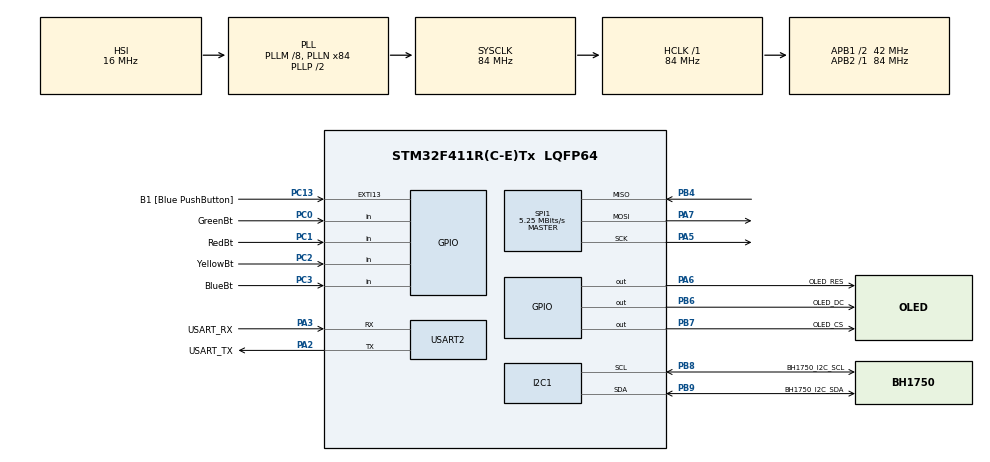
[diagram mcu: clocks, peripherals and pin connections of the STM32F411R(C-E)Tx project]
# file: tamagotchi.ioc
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Mcu.Family=STM32F4
Mcu.Name=STM32F411R(C-E)Tx
Mcu.Package=LQFP64
NVIC.I2C1_ER_IRQn=true\:0\:0\:false\:false\:true\:true\:true\:true
NVIC.I2C1_EV_IRQn=true\:0\:0\:false\:false\:true\:true\:true\:true
NVIC.PriorityGroup=NVIC_PRIORITYGROUP_0
NVIC.SPI1_IRQn=true\:0\:0\:false\:false\:true\:true\:true\:true
NVIC.USART2_IRQn=true\:0\:0\:false\:false\:true\:true\:true\:true
PA13.GPIO_Label=TMS
PA13.Mode=Serial_Wire
PA13.Signal=SYS_JTMS-SWDIO
PA14.GPIO_Label=TCK
PA14.Mode=Serial_Wire
PA14.Signal=SYS_JTCK-SWCLK
PA2.GPIO_Label=USART_TX
PA2.Mode=Asynchronous
PA2.Signal=USART2_TX
PA3.GPIO_Label=USART_RX
PA3.Mode=Asynchronous
PA3.Signal=USART2_RX
PA5.Mode=Full_Duplex_Master
PA5.Signal=SPI1_SCK
PA6.GPIO_Label=OLED_RES
PA6.GPIO_Speed=GPIO_SPEED_FREQ_HIGH
PA6.PinState=GPIO_PIN_SET
PA6.Signal=GPIO_Output
PA7.GPIO_Speed=GPIO_SPEED_FREQ_HIGH
PA7.Mode=Full_Duplex_Master
PA7.Signal=SPI1_MOSI
PB4.Mode=Full_Duplex_Master
PB4.Signal=SPI1_MISO
PB6.GPIO_Label=OLED_DC
PB6.GPIO_PuPd=GPIO_PULLUP
PB6.GPIO_Speed=GPIO_SPEED_FREQ_HIGH
PB6.Signal=GPIO_Output
PB7.GPIO_Label=OLED_CS
PB7.GPIO_Speed=GPIO_SPEED_FREQ_HIGH
PB7.PinState=GPIO_PIN_SET
PB7.Signal=GPIO_Output
PB8.GPIO_Label=BH1750_I2C_SCL
PB8.GPIO_Pu=GPIO_PULLUP
PB8.GPIO_Speed=GPIO_SPEED_FREQ_HIGH
PB8.Mode=I2C
PB8.Signal=I2C1_SCL
PB9.GPIO_Label=BH1750_I2C_SDA
PB9.GPIO_Pu=GPIO_PULLUP
PB9.GPIO_Speed=GPIO_SPEED_FREQ_HIGH
PB9.Mode=I2C
PB9.Signal=I2C1_SDA
PC0.GPIO_Label=GreenBt
PC0.GPIO_PuPd=GPIO_PULLUP
PC0.Signal=GPIO_Input
PC1.GPIO_Label=RedBt
PC1.GPIO_PuPd=GPIO_PULLUP
PC1.Signal=GPIO_Input
PC13-ANTI_TAMP.GPIO_Label=B1 [Blue PushButton]
PC13-ANTI_TAMP.GPIO_ModeDefaultEXTI=GPIO_MODE_IT_FALLING
PC13-ANTI_TAMP.Signal=GPXTI13
PC14-OSC32_IN.Mode=LSE-External-Oscillator
PC14-OSC32_IN.Signal=RCC_OSC32_IN
PC15-OSC32_OUT.Mode=LSE-External-Oscillator
PC15-OSC32_OUT.Signal=RCC_OSC32_OUT
PC2.GPIO_Label=YellowBt
PC2.GPIO_PuPd=GPIO_PULLUP
PC2.Signal=GPIO_Input
PC3.GPIO_Label=BlueBt
PC3.GPIO_PuPd=GPIO_PULLUP
PC3.Signal=GPIO_Input
PH0\ -\ OSC_IN.Mode=HSE-External-Clock-Source
PH0\ -\ OSC_IN.Signal=RCC_OSC_IN
PH1\ -\ OSC_OUT.Mode=HSE-External-Clock-Source
PH1\ -\ OSC_OUT.Signal=RCC_OSC_OUT
ProjectManager.HeapSize=0x200
ProjectManager.StackSize=0x400
ProjectManager.TargetToolchain=STM32CubeIDE
RCC.48MHZClocksFreq_Value=42000000
RCC.AHBFreq_Value=84000000
RCC.APB1CLKDivider=RCC_HCLK_DIV2
RCC.APB1Freq_Value=42000000
RCC.APB1TimFreq_Value=84000000
RCC.APB2Freq_Value=84000000
RCC.APB2TimFreq_Value=84000000
RCC.CortexFreq_Value=84000000
RCC.FLatency-AdvancedSettings=FLASH_LATENCY_2
RCC.HCLKFreq_Value=84000000
RCC.HSE_VALUE=8000000
RCC.HSI_VALUE=16000000
RCC.PLLM=8
RCC.PLLN=84
RCC.SYSCLKFreq_VALUE=84000000
RCC.SYSCLKSource=RCC_SYSCLKSOURCE_PLLCLK
RCC.VCOOutputFreq_Value=168000000
SPI1.BaudRatePrescaler=SPI_BAUDRATEPRESCALER_16
SPI1.CalculateBaudRate=5.25 MBits/s
SPI1.Direction=SPI_DIRECTION_2LINES
SPI1.Mode=SPI_MODE_MASTER
SPI1.VirtualType=VM_MASTER
USART2.VirtualMode=VM_ASYNC
board=NUCLEO-F411RE

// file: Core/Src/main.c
/* USER CODE BEGIN Header */
/**
  ******************************************************************************
  * @file           : main.c
  * @brief          : Main program body
  ******************************************************************************
  * @attention
  *
  * Copyright (c) 2024 STMicroelectronics.
  * All rights reserved.
  *
  * This software is licensed under terms that can be found in the LICENSE file
  * in the root directory of this software component.
  * If no LICENSE file comes with this software, it is provided AS-IS.
  *
  ******************************************************************************
  */
/* USER CODE END Header */
#include "main.h"

/* USER CODE BEGIN Includes */
#include <stdint.h>
#include <stddef.h>
#include <string.h>
#include <stdlib.h>
#include <stdbool.h>
#include <stdio.h>
#include <stdarg.h>
#include <math.h>
#include <ctype.h>

#include "images.h"
#include "bh1750.h"
#include "ssd1309.h"
#include "uart.h"
#include "game_logic_and_animation.h"
/* USER CODE END Includes */

/* USER CODE BEGIN PD */
#define STM "STM"
#define START_ID_SENDER 0
#define START_ID_RECIPIENT 3
#define START_ID_LENGTH_COMMEND 6
#define LENGTH_OF_FRAME_WITHOUT_LENGHT_OF_DATA 13
#define START_ID_DATA 9
#define CMD_MAX_LENGTH 85
#define MAX_FRAME_SIZE 268
#define POLYNOMIAL 0x8005 // Polynomial for CRC-16/ARC
#define INITIAL_CRC 0x0000 // Initial value
#define FINAL_XOR 0x0000 // Final XOR Value
/* USER CODE END PD */

I2C_HandleTypeDef hi2c1;

SPI_HandleTypeDef hspi1;

UART_HandleTypeDef huart2;

/* USER CODE BEGIN PV */
typedef struct {
    char sender_frame[4];
    char recipient_frame[4];
    char length_of_command_frame[3];
    char data_frame[257];
    char crc[5];
} Frame_Data;

typedef enum {
    Waiting, // Waiting for frame
    Start, // Start of frame
} FrameDetection;

// CRC table for CRC-16/ARC
static const uint16_t crc_table[256] = {0x0000, 0xC0C1, 0xC181, 0x0140,   0xC301, 0x03C0, 0x0280, 0xC241,
        0xC601, 0x06C0, 0x0780, 0xC741,   0x0500, 0xC5C1, 0xC481, 0x0440,
        0xCC01, 0x0CC0, 0x0D80, 0xCD41,   0x0F00, 0xCFC1, 0xCE81, 0x0E40,
        0x0A00, 0xCAC1, 0xCB81, 0x0B40,   0xC901, 0x09C0, 0x0880, 0xC841,
        0xD801, 0x18C0, 0x1980, 0xD941,   0x1B00, 0xDBC1, 0xDA81, 0x1A40,
        0x1E00, 0xDEC1, 0xDF81, 0x1F40,   0xDD01, 0x1DC0, 0x1C80, 0xDC41,
        0x1400, 0xD4C1, 0xD581, 0x1540,   0xD701, 0x17C0, 0x1680, 0xD641,
        0xD201, 0x12C0, 0x1380, 0xD341,   0x1100, 0xD1C1, 0xD081, 0x1040,
        0xF001, 0x30C0, 0x3180, 0xF141,   0x3300, 0xF3C1, 0xF281, 0x3240,
        0x3600, 0xF6C1, 0xF781, 0x3740,   0xF501, 0x35C0, 0x3480, 0xF441,
        0x3C00, 0xFCC1, 0xFD81, 0x3D40,   0xFF01, 0x3FC0, 0x3E80, 0xFE41,
        0xFA01, 0x3AC0, 0x3B80, 0xFB41,   0x3900, 0xF9C1, 0xF881, 0x3840,
        0x2800, 0xE8C1, 0xE981, 0x2940,   0xEB01, 0x2BC0, 0x2A80, 0xEA41,
        0xEE01, 0x2EC0, 0x2F80, 0xEF41,   0x2D00, 0xEDC1, 0xEC81, 0x2C40,
        0xE401, 0x24C0, 0x2580, 0xE541,   0x2700, 0xE7C1, 0xE681, 0x2640,
        0x2200, 0xE2C1, 0xE381, 0x2340,   0xE101, 0x21C0, 0x2080, 0xE041,
        0xA001, 0x60C0, 0x6180, 0xA141,   0x6300, 0xA3C1, 0xA281, 0x6240,
        0x6600, 0xA6C1, 0xA781, 0x6740,   0xA501, 0x65C0, 0x6480, 0xA441,
        0x6C00, 0xACC1, 0xAD81, 0x6D40,   0xAF01, 0x6FC0, 0x6E80, 0xAE41,
        0xAA01, 0x6AC0, 0x6B80, 0xAB41,   0x6900, 0xA9C1, 0xA881, 0x6840,
        0x7800, 0xB8C1, 0xB981, 0x7940,   0xBB01, 0x7BC0, 0x7A80, 0xBA41,
        0xBE01, 0x7EC0, 0x7F80, 0xBF41,   0x7D00, 0xBDC1, 0xBC81, 0x7C40,
        0xB401, 0x74C0, 0x7580, 0xB541,   0x7700, 0xB7C1, 0xB681, 0x7640,
        0x7200, 0xB2C1, 0xB381, 0x7340,   0xB101, 0x71C0, 0x7080, 0xB041,
        0x5000, 0x90C1, 0x9181, 0x5140,   0x9301, 0x53C0, 0x5280, 0x9241,
        0x9601, 0x56C0, 0x5780, 0x9741,   0x5500, 0x95C1, 0x9481, 0x5440,
        0x9C01, 0x5CC0, 0x5D80, 0x9D41,   0x5F00, 0x9FC1, 0x9E81, 0x5E40,
        0x5A00, 0x9AC1, 0x9B81, 0x5B40,   0x9901, 0x59C0, 0x5880, 0x9841,
        0x8801, 0x48C0, 0x4980, 0x8941,   0x4B00, 0x8BC1, 0x8A81, 0x4A40,
        0x4E00, 0x8EC1, 0x8F81, 0x4F40,   0x8D01, 0x4DC0, 0x4C80, 0x8C41,
        0x4400, 0x84C1, 0x8581, 0x4540,   0x8701, 0x47C0, 0x4680, 0x8641,
        0x8201, 0x42C0, 0x4380, 0x8341,   0x4100, 0x81C1, 0x8081, 0x4040
};
Frame_Data frame_data = {
    .sender_frame = "",
    .recipient_frame = "",
    .length_of_command_frame = "",
    .data_frame = "",
    .crc = ""
};

FrameDetection detection = Waiting;
uint16_t frame_length = 0;
uint16_t frame_id = 0;
/* USER CODE END PV */

void SystemClock_Config(void);
static void MX_GPIO_Init(void);
static void MX_USART2_UART_Init(void);
static void MX_I2C1_Init(void);
static void MX_SPI1_Init(void);
/* USER CODE BEGIN PFP */
uint8_t USART_kbhit();
int16_t USART_getchar();
uint8_t USART_getline(char *buf);
void USART_fsend(char* format,...);
void HAL_UART_TxCpltCallback(UART_HandleTypeDef *huart);
void HAL_UART_RxCpltCallback(UART_HandleTypeDef *huart);
uint8_t USART_receive_frame(uint8_t *data, uint16_t *length);
void USART_send_frame(uint8_t *data, uint16_t length);
/* USER CODE END PFP */

/* USER CODE BEGIN 0 */
// Function for handling UART transmission completion
void HAL_UART_TxCpltCallback(UART_HandleTypeDef *huart) {
    if (huart == &huart2) {
        if (USART_TX_Empty != USART_TX_Busy) {
            uint8_t tmp = USART_TxBuf[USART_TX_Busy];
            USART_TX_Busy++;
            if (USART_TX_Busy >= USART_TXBUF_LEN) USART_TX_Busy = 0;
            HAL_UART_Transmit_IT(&huart2, &tmp, 1);
        }
    }
}
// Function for handling UART data reception
void HAL_UART_RxCpltCallback(UART_HandleTypeDef *huart) {
    if (huart == &huart2) {
        USART_RX_Empty++;
        if (USART_RX_Empty >= USART_RXBUF_LEN) USART_RX_Empty = 0;
        HAL_UART_Receive_IT(&huart2, &USART_RxBuf[USART_RX_Empty], 1);
    }
}

// Function for calculating CRC-16
uint16_t crc16(const uint8_t *data, size_t length) {
    uint16_t crc = INITIAL_CRC;

    for (size_t i = 0; i < length; i++) {
        uint8_t byte = data[i] ^ (crc & 0xFF);
        crc = (crc >> 8) ^ crc_table[byte];
    }

    return crc ^ FINAL_XOR;
}
// Function for verifying CRC
bool verify_crc(const uint16_t *data, size_t length, const char *crc_ascii) {
    // Check if input pointers are not NULL
    if (data == NULL || crc_ascii == NULL) {
        return false;
    }

    // Calculate CRC for given data using crc16 function
    uint16_t calculated_crc = crc16(data, length);

    // Convert ASCII hex to uint16_t
    uint16_t provided_crc = 0;
    for(int i = 0; i < 4; i++) {
        uint8_t val;
        char c = crc_ascii[i];

        // Convert single hex character
        if(c >= '0' && c <= '9') {
            val = c - '0';
        }
        else if(c >= 'A' && c <= 'F') {
            val = c - 'A' + 10;
        }
        else {
            return false;  // Invalid character
        }

        // Shift and add new value
        provided_crc = (provided_crc << 4) | val;
    }

    return (calculated_crc == provided_crc);
}
// Function for reading frame
void FrameRd() {
    int16_t sign;

    if (USART_RX_Empty == USART_RX_Busy) { // Check if data is available
        return;
    }

    sign = USART_RxBuf[USART_RX_Busy];
    USART_RX_Busy++;

    if (USART_RX_Busy >= USART_RXBUF_LEN) {
        USART_RX_Busy = 0;
    }

    // Check for starting character { and verify if in data field
    // the character is not escaped
    if (sign == '{' && !(frame_id > 9 && frame[frame_id - 1] == '\\')) {
        detection = Start;
        frame_id = 0; // Reset frame length
        return;
    }

    if (detection == Start) {
        // Check for ending character } and verify if in data field
        // the character is not escaped
        if (sign == '}' && !(frame_id > 9 && frame[frame_id - 1] == '\\')) {
            frame_length = frame_id;
            frame_id = 0;
            decoding();
            detection = Waiting; // Return to waiting for new frame
            return;
        }

        frame[frame_id] = sign; // Add current character to frame
        frame_id++;

        // Check maximum frame length
        if (frame_id > (MAX_FRAME_SIZE)) {
            frame_id = 0;
            detection = Waiting; // Reset on invalid frame
            return;
        }
    }
}

// Function for decoding frame
void decoding() {
    // 13 is the minimum frame size without {} characters
    if (frame_length < 13) {
        // Frame is ignored, doesn't meet requirements
        return;
    }

    // Copy sender
    for (int i = 0; i < 3; i++) {
        frame_data.sender_frame[i] = frame[START_ID_SENDER + i];
    }

    // Copy and compare recipient
    bool recipient_match = true;
    for (int i = 0; i < 3; i++) {
        frame_data.recipient_frame[i] = frame[START_ID_RECIPIENT + i];
        if (frame_data.recipient_frame[i] != STM[i]) {
                    recipient_match = false;
                    break;
        }
    }
    if (!recipient_match) {
        return;
    }

    // Copy length and check if it's a number in base 10
    for (int symbol_id = 0; symbol_id < 3; symbol_id++) {
        frame_data.length_of_command_frame[symbol_id] = frame[START_ID_LENGTH_COMMEND + symbol_id];
        if (!(frame_data.length_of_command_frame[symbol_id] >= '0' &&
              frame_data.length_of_command_frame[symbol_id] <= '9')) {
            USART_send_response(STM, frame_data.sender_frame, "WRLENDATA");
            return;
        }
    }

    int cmdLength = 0;
    // Convert to int
    for (int i = 0; i < 3; i++) {
        if (!(frame_data.length_of_command_frame[i] - '0' >= 0 && frame_data.length_of_command_frame[i] - '0' <= 9 )){
            USART_send_response(STM, frame_data.sender_frame, "WRCMD");
            return;
        }
        cmdLength = cmdLength * 10 + (frame_data.length_of_command_frame[i] - '0');
    }

    if (cmdLength >= 256 && cmdLength <=0){
        USART_send_response(STM, frame_data.sender_frame, "WRCMD");
        return;
    }

    // Copy data
    for (int i = 0; i < cmdLength; i++) {
        frame_data.data_frame[i] = frame[9 + i];
    }

    // Copy CRC
    for (int i = 0; i < 4; i++) {
        frame_data.crc[i] = frame[9 + cmdLength + i];
    }

    // Check if CRC is a hexadecimal number
    for (int symbol_id = 0; symbol_id < 4; symbol_id++) {
        if (!(frame_data.crc[symbol_id] >= '0' && frame_data.crc[symbol_id] <= '9') &&
            !(frame_data.crc[symbol_id] >= 'A' && frame_data.crc[symbol_id] <= 'F')) {
            USART_send_response(STM, frame_data.sender_frame, "WRCRC");
            return;
        }
    }

    if (verify_crc((uint16_t *)frame, frame_length-4, frame_data.crc)) {
        parse_and_execute_command(frame_data.data_frame);
    } else {
        USART_send_response(STM, frame_data.sender_frame, "WRCRC");
    }
}

// Function for parsing and executing commands
void parse_and_execute_command(const char* data, int data_length) {
    char header[CMD_MAX_LENGTH] = {0};
    char command[CMD_MAX_LENGTH] = {0};
    char value[CMD_MAX_LENGTH] = {0};

    int header_index = 0, command_index = 0, value_index = 0;
    int i = 0;

    // Parse header (until '_' character)
    while (i < data_length && data[i] != '_') {
        header[header_index++] = data[i++];
    }
    i++; // Skip '_' character

    // Parse command (until '[' character)
    while (i < data_length && data[i] != '[') {
        command[command_index++] = data[i++];
    }
    i++; // Skip '[' character

    // Parse value (until ']' character)
    while (i < data_length && data[i] != ']') {
        value[value_index++] = data[i++];
    }

    // Check if all parts were parsed correctly
    if (header_index == 0 || command_index == 0 || value_index == 0) {
        USART_send_response(STM, frame_data.sender_frame, "WRCMD");
        return;
    }

    // Execute command
    Commends(header, header_index, command, command_index, value, value_index);
}
// Function to check if value is a valid number
bool isNumber(const char* value, int length) {
    for (int i = 0; i < length; i++) {
        if (!isdigit((unsigned char)value[i])) {
            return false;  // If character is not a digit, return false
        }
    }
    return true;  // All characters are digits
}
// Function to convert string to integer if valid, otherwise return -1
int handleNumber(const char* value, int length) {
    if (isNumber(value, length)) {
        int number = 0;
        for (int i = 0; i < length; i++) {
            number = number * 10 + (value[i] - '0');  // Manual conversion to number
        }
        return number;
    }
    return -1;  // If value is not a number, return -1
}

// Function to check if value is within specified range (inclusive)
bool isInRange(int value, int min, int max) {
    return value >= min && value <= max;  // Returns true if value is between min and max
}
// Function for comparing character arrays
int custom_strncmp(const char* str1, const char* str2, int length1, int length2) {
    if (length1 != length2){
        return -1;
    }
    // Compare characters
    for (int i = 0; i < length1; i++) {
        if (str1[i] != str2[i]) {
            return (unsigned char)str1[i] - (unsigned char)str2[i];  // Return difference between characters
        }
    }

    return 0; // Arrays are identical
}
// Function to check if given value is valid depending on head and instruction
bool value_check(const char* head, int head_length, const char* instruction, int instruction_length, const char* value, int value_length) {
    int value_to_int = handleNumber(value, value_length);  // Convert value to number

    // Compare head with "FOOD", "ENERGY", "FUN"
    if (custom_strncmp(head, "FOOD", head_length, 4) == 0 ||
        custom_strncmp(head, "ENERGY", head_length, 6) == 0 ||
        custom_strncmp(head, "FUN", head_length, 3) == 0) {

        // Check for ADD or SUBTRACT instruction
        if ((custom_strncmp(instruction, "ADD", instruction_length, 3) == 0 ||
             custom_strncmp(instruction, "SUBTRACT", instruction_length, 8) == 0) &&
            isInRange(value_to_int, 1, 5)) {
            return true;
        }
        // Check for SET instruction
        if (custom_strncmp(instruction, "SET", instruction_length, 3) == 0 &&
            isInRange(value_to_int, 0, 5)) {
            return true;
        }
        // Check for CLEAR instruction
        if (custom_strncmp(instruction, "CLEAR", instruction_length, 5) == 0 &&
            value[0] == 'X') {
            return true;
        }
    }
    // Compare head with "MENU"
    else if (custom_strncmp(head, "MENU", head_length, 4) == 0) {
        // Check for CHANGE instruction
        if (custom_strncmp(instruction, "CHANGE", instruction_length, 6) == 0 &&
            isInRange(value_to_int, 1, 3)) {
            return true;
        }
    }
    // Compare head with "WAKEUP"
    else if (custom_strncmp(head, "WAKEUP", head_length, 6) == 0) {
        // Check value range
        if (isInRange(value_to_int, 1, 65535)) {
            return true;
        }
    }

    return false;  // If no condition is met, return false
}

// Main function for processing commands and executing appropriate actions
void Commends(const char* head, int head_length, const char* instruction, int instruction_length, const char* value, int value_length) {
    uint16_t* attribute = NULL;

    // Handle FOOD, ENERGY, FUN
    if (custom_strncmp(head, "FOOD", head_length, 4) == 0 ||
        custom_strncmp(head, "ENERGY", head_length, 6) == 0 ||
        custom_strncmp(head, "FUN", head_length, 3) == 0) {

        if (custom_strncmp(head, "FOOD", head_length, 4) == 0) {
            attribute = &g_atribute.food;
        } else if (custom_strncmp(head, "ENERGY", head_length, 6) == 0) {
            attribute = &g_atribute.energy;
        } else if (custom_strncmp(head, "FUN", head_length, 3) == 0) {
            attribute = &g_atribute.fun;
        }

        if (!attribute) {
            USART_send_response(STM, frame_data.sender_frame, "WRCMD");
            return;
        }

        // Check if menu is in game state (action blocked)
        if (g_atribute.menu == 3) {
            USART_send_response(STM, frame_data.sender_frame, "WRWAITGAME");
            return;
        }

        // Handle ADD instruction
        if (custom_strncmp(instruction, "ADD", instruction_length, 3) == 0) {
            if (g_atribute.minigame) {
                USART_send_response(STM, frame_data.sender_frame, "WRWAITGAME");
                return;
            }
            if (value_check(head, head_length, instruction, instruction_length, value, value_length)) {
                int new_value = *attribute + handleNumber(value, value_length);
                *attribute = (new_value > 5) ? 5 : new_value;  // Limit value to 5
                USART_send_response(STM, frame_data.sender_frame, "ACCEPTADDAT");
            } else {
                USART_send_response(STM, frame_data.sender_frame, "WRVALUE");
            }
        }
        // Handle SUBTRACT instruction
        else if (custom_strncmp(instruction, "SUBTRACT", instruction_length, 8) == 0) {
            if (g_atribute.minigame) {
                USART_send_response(STM, frame_data.sender_frame, "WRWAITGAME");
                return;
            }
            if (value_check(head, head_length, instruction, instruction_length, value, value_length)) {
                int new_value = *attribute - handleNumber(value, value_length);
                *attribute = (new_value < 0) ? 0 : new_value;  // Limit value to 0
                USART_send_response(STM, frame_data.sender_frame, "ACCEPTSUBAT");
            } else {
                USART_send_response(STM, frame_data.sender_frame, "WRVALUE");
            }
        }
        // Handle SET instruction
        else if (custom_strncmp(instruction, "SET", instruction_length, 3) == 0) {
            if (g_atribute.minigame) {
                USART_send_response(STM, frame_data.sender_frame, "WRWAITGAME");
                return;
            }
            if (value_check(head, head_length, instruction, instruction_length, value, value_length)) {
                *attribute = handleNumber(value, value_length);
                USART_send_response(STM, frame_data.sender_frame, "ACCEPTSET");
            } else {
                USART_send_response(STM, frame_data.sender_frame, "WRVALUE");
            }
        }
        // Handle CLEAR instruction
        else if (custom_strncmp(instruction, "CLEAR", instruction_length, 5) == 0) {
            if (g_atribute.minigame) {
                USART_send_response(STM, frame_data.sender_frame, "WRWAITGAME");
                return;
            }
            if (value_check(head, head_length, instruction, instruction_length, value, value_length)) {
                *attribute = 0;  // Reset value to 0
                USART_send_response(STM, frame_data.sender_frame, "ACCEPTRESAT");
            } else {
                USART_send_response(STM, frame_data.sender_frame, "WRVALUE");
            }
        }
        // Unknown instruction
        else {
            USART_send_response(STM, frame_data.sender_frame, "WRCMD");
        }
    }
    // Handle MENU
    else if (custom_strncmp(head, "MENU", head_length, 4) == 0) {
        if (g_atribute.minigame) {
            USART_send_response(STM, frame_data.sender_frame, "WRMENU");
            return;
        }

        // Handle CHANGE instruction
        if (custom_strncmp(instruction, "CHANGE", instruction_length, 6) == 0) {
            if (value_check(head, head_length, instruction, instruction_length, value, value_length)) {
                g_atribute.menu = handleNumber(value, value_length);  // Change menu state
                USART_send_response(STM, frame_data.sender_frame, "ACCEPTMENU");
            } else {
                USART_send_response(STM, frame_data.sender_frame, "WRVALUE");
            }
        }
        // Unknown instruction
        else {
            USART_send_response(STM, frame_data.sender_frame, "WRCMD");
        }
    }
    // Handle WAKEUP
    else if (custom_strncmp(head, "WAKEUP", head_length, 6) == 0) {
        if (g_atribute.minigame) {
            USART_send_response(STM, frame_data.sender_frame, "WRWAITGAME");
            return;
        }

        // Handle MIN instruction
        if (custom_strncmp(instruction, "MIN", instruction_length, 3) == 0) {
            if (value_check(head, head_length, instruction, instruction_length, value, value_length)) {
                g_atribute.wakeup_sensitivity = handleNumber(value, value_length);  // Set wakeup sensitivity
                USART_send_response(STM, frame_data.sender_frame, "ACCEPTSET");
            } else {
                USART_send_response(STM, frame_data.sender_frame, "WRVALUE");
            }
        }
        // Unknown instruction
        else {
            USART_send_response(STM, frame_data.sender_frame, "WRCMD");
        }
    }
    // Unknown head
    else {
        USART_send_response(STM, frame_data.sender_frame, "WRCMD");
    }
}

/* USER CODE END 0 */

int main(void)
{

  /* MCU Configuration--------------------------------------------------------*/

  /* Reset of all peripherals, Initializes the Flash interface and the Systick. */
  HAL_Init();

  /* Configure the system clock */
  SystemClock_Config();

  /* Initialize all configured peripherals */
  MX_GPIO_Init();
  MX_USART2_UART_Init();
  MX_I2C1_Init();
  MX_SPI1_Init();
  /* USER CODE BEGIN 2 */

  // Initialize UART data reception in interrupt mode
  HAL_UART_Receive_IT(&huart2,&USART_RxBuf[USART_RX_Empty],1);

  // Initialize BH1750 sensor (light sensor)
  BH1750_Init();

  // Start measurement by BH1750 sensor
  BH1750_StartMeasurement();

  // Initialize OLED display
  OLED_Init();

  // Start and update first menu
  Start_menu1();
  Update_menu1();
  /* USER CODE END 2 */

  /* Infinite loop */
  /* USER CODE BEGIN WHILE */
  while (1){
      Button_Functionality(); // Handle main buttons
      Menu_change_and_update(); // Change menu and update it
      FrameRd(); // Read data frames

  }
    /* USER CODE END WHILE */

}

void SystemClock_Config(void)
{
  RCC_OscInitTypeDef RCC_OscInitStruct = {0};
  RCC_ClkInitTypeDef RCC_ClkInitStruct = {0};

  /** Configure the main internal regulator output voltage
  */
  __HAL_RCC_PWR_CLK_ENABLE();
  __HAL_PWR_VOLTAGESCALING_CONFIG(PWR_REGULATOR_VOLTAGE_SCALE1);

  /** Initializes the RCC Oscillators according to the specified parameters
  * in the RCC_OscInitTypeDef structure.
  */
  RCC_OscInitStruct.OscillatorType = RCC_OSCILLATORTYPE_HSI;
  RCC_OscInitStruct.HSIState = RCC_HSI_ON;
  RCC_OscInitStruct.HSICalibrationValue = RCC_HSICALIBRATION_DEFAULT;
  RCC_OscInitStruct.PLL.PLLState = RCC_PLL_ON;
  RCC_OscInitStruct.PLL.PLLSource = RCC_PLLSOURCE_HSI;
  RCC_OscInitStruct.PLL.PLLM = 8;
  RCC_OscInitStruct.PLL.PLLN = 84;
  RCC_OscInitStruct.PLL.PLLP = RCC_PLLP_DIV2;
  RCC_OscInitStruct.PLL.PLLQ = 4;
  if (HAL_RCC_OscConfig(&RCC_OscInitStruct) != HAL_OK)
  {
    Error_Handler();
  }

  /** Initializes the CPU, AHB and APB buses clocks
  */
  RCC_ClkInitStruct.ClockType = RCC_CLOCKTYPE_HCLK|RCC_CLOCKTYPE_SYSCLK
                              |RCC_CLOCKTYPE_PCLK1|RCC_CLOCKTYPE_PCLK2;
  RCC_ClkInitStruct.SYSCLKSource = RCC_SYSCLKSOURCE_PLLCLK;
  RCC_ClkInitStruct.AHBCLKDivider = RCC_SYSCLK_DIV1;
  RCC_ClkInitStruct.APB1CLKDivider = RCC_HCLK_DIV2;
  RCC_ClkInitStruct.APB2CLKDivider = RCC_HCLK_DIV1;

  if (HAL_RCC_ClockConfig(&RCC_ClkInitStruct, FLASH_LATENCY_2) != HAL_OK)
  {
    Error_Handler();
  }
}

static void MX_I2C1_Init(void)
{

  hi2c1.Instance = I2C1;
  hi2c1.Init.ClockSpeed = 100000;
  hi2c1.Init.DutyCycle = I2C_DUTYCYCLE_2;
  hi2c1.Init.OwnAddress1 = 0;
  hi2c1.Init.AddressingMode = I2C_ADDRESSINGMODE_7BIT;
  hi2c1.Init.DualAddressMode = I2C_DUALADDRESS_DISABLE;
  hi2c1.Init.OwnAddress2 = 0;
  hi2c1.Init.GeneralCallMode = I2C_GENERALCALL_DISABLE;
  hi2c1.Init.NoStretchMode = I2C_NOSTRETCH_DISABLE;
  if (HAL_I2C_Init(&hi2c1) != HAL_OK)
  {
    Error_Handler();
  }

}

static void MX_SPI1_Init(void)
{

  /* SPI1 parameter configuration*/
  hspi1.Instance = SPI1;
  hspi1.Init.Mode = SPI_MODE_MASTER;
  hspi1.Init.Direction = SPI_DIRECTION_2LINES;
  hspi1.Init.DataSize = SPI_DATASIZE_8BIT;
  hspi1.Init.CLKPolarity = SPI_POLARITY_LOW;
  hspi1.Init.CLKPhase = SPI_PHASE_1EDGE;
  hspi1.Init.NSS = SPI_NSS_SOFT;
  hspi1.Init.BaudRatePrescaler = SPI_BAUDRATEPRESCALER_16;
  hspi1.Init.FirstBit = SPI_FIRSTBIT_MSB;
  hspi1.Init.TIMode = SPI_TIMODE_DISABLE;
  hspi1.Init.CRCCalculation = SPI_CRCCALCULATION_DISABLE;
  hspi1.Init.CRCPolynomial = 10;
  if (HAL_SPI_Init(&hspi1) != HAL_OK)
  {
    Error_Handler();
  }

}

static void MX_USART2_UART_Init(void)
{

  huart2.Instance = USART2;
  huart2.Init.BaudRate = 115200;
  huart2.Init.WordLength = UART_WORDLENGTH_8B;
  huart2.Init.StopBits = UART_STOPBITS_1;
  huart2.Init.Parity = UART_PARITY_NONE;
  huart2.Init.Mode = UART_MODE_TX_RX;
  huart2.Init.HwFlowCtl = UART_HWCONTROL_NONE;
  huart2.Init.OverSampling = UART_OVERSAMPLING_16;
  if (HAL_UART_Init(&huart2) != HAL_OK)
  {
    Error_Handler();
  }

}

static void MX_GPIO_Init(void)
{
  GPIO_InitTypeDef GPIO_InitStruct = {0};

  /* GPIO Ports Clock Enable */
  __HAL_RCC_GPIOC_CLK_ENABLE();
  __HAL_RCC_GPIOH_CLK_ENABLE();
  __HAL_RCC_GPIOA_CLK_ENABLE();
  __HAL_RCC_GPIOB_CLK_ENABLE();

  /*Configure GPIO pin Output Level */
  HAL_GPIO_WritePin(OLED_RES_GPIO_Port, OLED_RES_Pin, GPIO_PIN_SET);

  /*Configure GPIO pin Output Level */
  HAL_GPIO_WritePin(OLED_DC_GPIO_Port, OLED_DC_Pin, GPIO_PIN_RESET);

  /*Configure GPIO pin Output Level */
  HAL_GPIO_WritePin(OLED_CS_GPIO_Port, OLED_CS_Pin, GPIO_PIN_SET);

  /*Configure GPIO pin : B1_Pin */
  GPIO_InitStruct.Pin = B1_Pin;
  GPIO_InitStruct.Mode = GPIO_MODE_IT_FALLING;
  GPIO_InitStruct.Pull = GPIO_NOPULL;
  HAL_GPIO_Init(B1_GPIO_Port, &GPIO_InitStruct);

  /*Configure GPIO pins : GreenBt_Pin RedBt_Pin YellowBt_Pin BlueBt_Pin */
  GPIO_InitStruct.Pin = GreenBt_Pin|RedBt_Pin|YellowBt_Pin|BlueBt_Pin;
  GPIO_InitStruct.Mode = GPIO_MODE_INPUT;
  GPIO_InitStruct.Pull = GPIO_PULLUP;
  HAL_GPIO_Init(GPIOC, &GPIO_InitStruct);

  /*Configure GPIO pin : OLED_RES_Pin */
  GPIO_InitStruct.Pin = OLED_RES_Pin;
  GPIO_InitStruct.Mode = GPIO_MODE_OUTPUT_PP;
  GPIO_InitStruct.Pull = GPIO_NOPULL;
  GPIO_InitStruct.Speed = GPIO_SPEED_FREQ_HIGH;
  HAL_GPIO_Init(OLED_RES_GPIO_Port, &GPIO_InitStruct);

  /*Configure GPIO pin : OLED_DC_Pin */
  GPIO_InitStruct.Pin = OLED_DC_Pin;
  GPIO_InitStruct.Mode = GPIO_MODE_OUTPUT_PP;
  GPIO_InitStruct.Pull = GPIO_PULLUP;
  GPIO_InitStruct.Speed = GPIO_SPEED_FREQ_HIGH;
  HAL_GPIO_Init(OLED_DC_GPIO_Port, &GPIO_InitStruct);

  /*Configure GPIO pin : OLED_CS_Pin */
  GPIO_InitStruct.Pin = OLED_CS_Pin;
  GPIO_InitStruct.Mode = GPIO_MODE_OUTPUT_PP;
  GPIO_InitStruct.Pull = GPIO_NOPULL;
  GPIO_InitStruct.Speed = GPIO_SPEED_FREQ_HIGH;
  HAL_GPIO_Init(OLED_CS_GPIO_Port, &GPIO_InitStruct);

}

void Error_Handler(void)
{
  __disable_irq();
  while (1)
  {
  }
}
